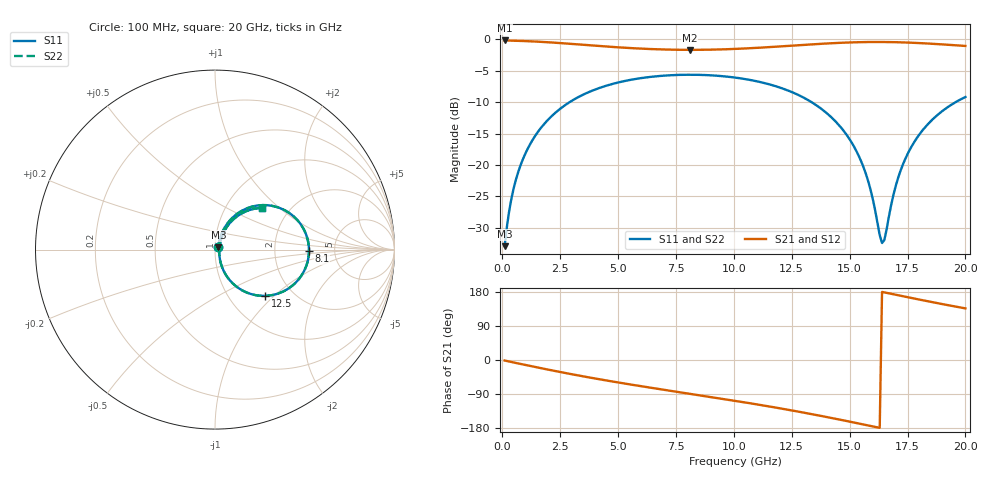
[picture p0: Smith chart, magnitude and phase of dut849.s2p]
! Touchstone file exported from HFSS 2026.1.0
!  File:  C:/ffzhzh/LocalFiles/Ansys_Project_Files/temp_train_TSV_RDL_849_1783269041_38704.aedt
!  Generated:  12:41:25 AM Jul  6, 2026
!  Design:  TSV_RDL
!  Project:  temp_train_TSV_RDL_849_1783269041_38704
! Variables:
!  h_bsmrdl = 4.98um
!  h_ox = 20um
!  h_rdl = 5um
!  h_sub = 66.89um
!  h_tmrdl = 3.1um
!  h_tsv = 66.89um
!  h_via = 3um
!  l_bsmrdl = 234.67um
!  l_sub = 3810.75um
!  l_tmrdl = 646.73um
!  m_sub = 200um
!  pitch = 46.22um
!  r_tsv = 4.93um
!  s_tmrdl = 10um
!  w_bsmrdl = 15.12um
!  w_sub = 500um
!  w_tmrdl = 24.82um
!  x_tsv_center1 = 659.14um
!  x_tsv_center2 = 908.93um
!  x_tsv_center3 = 1580.48um
!  x_tsv_center4 = 1830.27um
!  x_tsv_center5 = 2501.82um
!  x_tsv_center6 = 2751.61um
# GHz S MA R 50.000000
! Terminal data exported
! Port[1] = TM_RDL1_1_T1
! Port[2] = TM_RDL5_1_T1
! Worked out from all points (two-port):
!   200 points, 100 MHz to 20 GHz, reference 50 ohm
!   highest |S21| = -0.16 dB at 100 MHz (marker M1); lowest = -1.7 dB at 8.1 GHz (marker M2)
!   |S21| within 3 dB of the highest: start of sweep to end of sweep
!   lowest |S11| = -32.9 dB at 100 MHz (marker M3), VSWR 1.05, Z = 51.9 + j1.35 ohm
!   |S11| at or under -10 dB: start of sweep to 2.9 GHz; 13.36 GHz to 19.57 GHz (6.211 GHz wide, 37.7 % of centre)
!   |S22| runs from -32.9 to -5.6 dB; largest |S21 - S12| = 2.5e-14
!   S11 on the Smith chart (normalised r, x): 100 MHz: 1.04, +0.03; 8.1 GHz: 3.20, -0.08; 12.5 GHz: 1.47, -0.88; 20 GHz: 1.46, +0.77
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0.1  0.02259 35.0  0.9817 -1.4  0.9817 -1.4  0.02259 35.0
! Gamma 0 0 0 0
! Port Impedance 50 0 50 0
0.3  0.04334 59.1  0.9795 -4.1  0.9795 -4.1  0.04334 59.1
0.5  0.06626 65.2  0.9771 -6.7  0.9771 -6.7  0.06626 65.2
1.1  0.1351 66.1  0.9687 -14.4  0.9687 -14.4  0.1351 66.1
2.1  0.242 57.5  0.9468 -26.9  0.9468 -26.9  0.242 57.5
3.5  0.364 42.9  0.9066 -43.2  0.9066 -43.2  0.364 42.9
5  0.4541 27.8  0.8656 -59.2  0.8656 -59.2  0.4541 27.8
6.8  0.5118 10.8  0.8337 -76.9  0.8337 -76.9  0.5118 10.8
8.1  0.5237 -1.0  0.8263 -89.1  0.8263 -89.1  0.5237 -1.0
10.1  0.4958 -19.2  0.8413 -108.2  0.8413 -108.2  0.4958 -19.2
12.5  0.3814 -42.5  0.8922 -133.1  0.8922 -133.1  0.3814 -42.5
13.4  0.3131 -51.6  0.9147 -143.3  0.9147 -143.3  0.3131 -51.7
14.5  0.2117 -62.4  0.9384 -156.4  0.9384 -156.4  0.2117 -62.4
15.3  0.1284 -67.8  0.95 -166.4  0.95 -166.4  0.1284 -67.9
15.9  0.06403 -64.1  0.9542 -174.0  0.9542 -174.0  0.06398 -64.2
16.4  0.02394 -8.8  0.9545 179.7  0.9545 179.7  0.02375 -8.9
16.5  0.02525 16.4  0.9541 178.4  0.9541 178.4  0.02506 16.5
16.7  0.03917 46.9  0.9532 175.9  0.9532 175.9  0.03904 47.1
17.2  0.09016 62.8  0.9487 169.5  0.9487 169.5  0.0901 62.9
17.8  0.1534 61.9  0.9397 162.1  0.9397 162.1  0.1534 61.9
18.7  0.2418 54.5  0.9208 151.1  0.9208 151.1  0.2418 54.6
20  0.3481 41.8  0.8874 136.2  0.8874 136.2  0.3481 41.8
